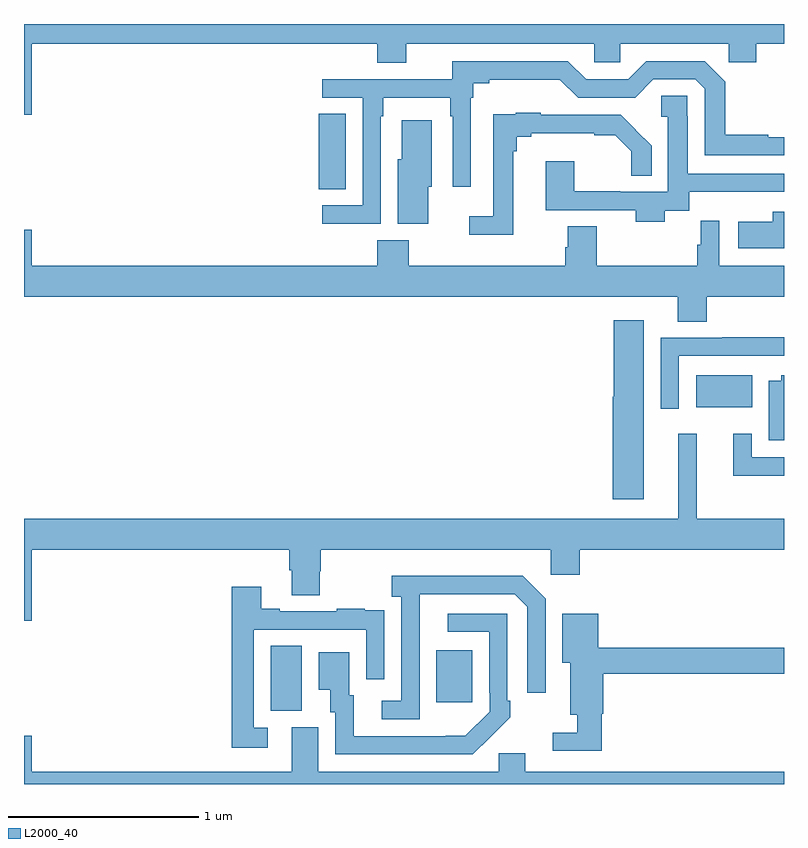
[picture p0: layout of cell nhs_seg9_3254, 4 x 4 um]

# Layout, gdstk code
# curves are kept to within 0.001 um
import gdstk
lib = gdstk.Library(unit=1e-6, precision=1e-09)
def R(c, l, rs):  # rectangles x0, y0, x1, y1
    for r in rs: c.add(gdstk.rectangle(r[:2], r[2:], *l))
def P(c, l, *ps):  # polygons
    for p in ps: c.add(gdstk.Polygon(p, *l))
L2000_40 = (2000, 40)

nhs_seg9_3254 = lib.new_cell('nhs_seg9_3254')
R(nhs_seg9_3254, L2000_40, [(298.298,1216.885,298.462,1217.228), (299.171,1216.929,299.359,1217.203), (300.539,1218.482,300.832,1218.652), (298.55,1219.63,298.693,1220.027)])
P(nhs_seg9_3254, L2000_40, [(297.04,1220.396),(298.859,1220.396),(298.859,1220.297),(299.011,1220.297),(299.011,1220.396),(300,1220.396),(300,1220.298),(300.138,1220.298),(300.138,1220.396),(300.709,1220.396),(300.709,1220.298),(300.855,1220.298),(300.855,1220.396),(301,1220.396),(301,1220.5),(297,1220.5),(297,1220.022),(297.04,1220.022)],
  [(298.878,1220.015),(298.891,1220.015),(298.891,1220.112),(299.244,1220.112),(299.244,1220.015),(299.256,1220.015),(299.256,1219.644),(299.352,1219.644),(299.352,1220.111),(299.365,1220.111),(299.365,1220.188),(299.449,1220.188),(299.449,1220.207),(299.821,1220.207),(299.916,1220.112),(300.216,1220.112),(300.312,1220.208),(300.534,1220.208),(300.582,1220.16),(300.582,1219.809),(301,1219.809),(301,1219.905),(300.917,1219.905),(300.917,1219.918),(300.691,1219.918),(300.691,1220.195),(300.582,1220.304),(300.276,1220.304),(300.18,1220.208),(299.958,1220.208),(299.862,1220.304),(299.254,1220.304),(299.254,1220.208),(298.569,1220.208),(298.569,1220.112),(298.782,1220.112),(298.782,1219.545),(298.569,1219.545),(298.569,1219.449),(298.878,1219.449)],
  [(300.373,1219.517),(300.502,1219.517),(300.502,1219.616),(300.771,1219.616),(300.771,1219.617),(301,1219.617),(301,1219.713),(300.493,1219.713),(300.493,1220.015),(300.492,1220.015),(300.492,1220.123),(300.354,1220.123),(300.354,1220.012),(300.389,1220.012),(300.389,1219.617),(300.137,1219.617),(300.137,1219.619),(299.895,1219.619),(299.895,1219.777),(299.747,1219.777),(299.747,1219.521),(300.221,1219.521),(300.221,1219.46),(300.373,1219.46)],
  [(299.575,1219.829),(299.593,1219.829),(299.593,1219.906),(299.671,1219.906),(299.671,1219.925),(300.002,1219.925),(300.002,1219.914),(300.111,1219.914),(300.195,1219.831),(300.195,1219.702),(300.304,1219.702),(300.304,1219.859),(300.22,1219.942),(300.221,1219.943),(300.142,1220.022),(299.721,1220.022),(299.721,1220.032),(299.589,1220.032),(299.589,1220.024),(299.471,1220.024),(299.471,1219.489),(299.343,1219.489),(299.343,1219.391),(299.575,1219.391)],
  [(299.128,1219.644),(299.146,1219.644),(299.146,1219.993),(298.988,1219.993),(298.988,1219.788),(298.967,1219.788),(298.967,1219.449),(299.128,1219.449)],
  [(301,1219.512),(300.941,1219.512),(300.941,1219.459),(300.759,1219.459),(300.759,1219.319),(301,1219.319)],
  [(300.593,1219.064),(301,1219.064),(301,1219.228),(300.66,1219.228),(300.66,1219.465),(300.563,1219.465),(300.563,1219.338),(300.544,1219.338),(300.544,1219.228),(300.014,1219.228),(300.014,1219.436),(299.861,1219.436),(299.861,1219.326),(299.849,1219.326),(299.849,1219.228),(299.024,1219.228),(299.024,1219.363),(298.859,1219.363),(298.859,1219.228),(297.04,1219.228),(297.04,1219.417),(297,1219.417),(297,1219.064),(300.44,1219.064),(300.44,1218.934),(300.593,1218.934)],
  [(300.262,1218.94),(300.104,1218.94),(300.104,1218.537),(300.098,1218.537),(300.098,1218),(300.262,1218)],
  [(300.447,1218.753),(301,1218.753),(301,1218.851),(300.676,1218.851),(300.676,1218.849),(300.351,1218.849),(300.351,1218.474),(300.447,1218.474)],
  [(301,1218.652),(300.986,1218.652),(300.986,1218.622),(300.92,1218.622),(300.92,1218.308),(301,1218.308)],
  [(297.04,1217.732),(298.397,1217.732),(298.397,1217.626),(298.409,1217.626),(298.409,1217.494),(298.557,1217.494),(298.557,1217.619),(298.562,1217.619),(298.562,1217.732),(299.772,1217.732),(299.772,1217.601),(299.924,1217.601),(299.924,1217.732),(301,1217.732),(301,1217.896),(300.542,1217.896),(300.542,1218.343),(300.443,1218.343),(300.443,1217.896),(297,1217.896),(297,1217.358),(297.04,1217.358)],
  [(301,1218.219),(300.831,1218.219),(300.831,1218.343),(300.734,1218.343),(300.734,1218.123),(301,1218.123)],
  [(299.082,1217.299),(299.083,1217.499),(299.583,1217.499),(299.649,1217.433),(299.649,1216.98),(299.745,1216.98),(299.745,1217.475),(299.624,1217.596),(298.935,1217.596),(298.935,1217.486),(298.986,1217.486),(298.986,1216.938),(298.884,1216.938),(298.884,1216.842),(299.082,1216.842)],
  [(298.282,1216.797),(298.209,1216.797),(298.209,1217.313),(298.8,1217.313),(298.8,1217.052),(298.896,1217.052),(298.896,1217.306),(298.895,1217.306),(298.895,1217.415),(298.793,1217.415),(298.793,1217.422),(298.645,1217.422),(298.645,1217.409),(298.345,1217.409),(298.345,1217.422),(298.249,1217.422),(298.249,1217.539),(298.093,1217.539),(298.093,1216.692),(298.282,1216.692)],
  [(299.453,1216.747),(299.454,1216.746),(299.559,1216.851),(299.559,1216.939),(299.544,1216.939),(299.544,1217.397),(299.229,1217.397),(299.229,1217.301),(299.448,1217.301),(299.448,1216.981),(299.451,1216.981),(299.451,1216.881),(299.323,1216.753),(298.735,1216.752),(298.735,1216.968),(298.711,1216.968),(298.711,1217.194),(298.55,1217.194),(298.55,1216.997),(298.613,1216.997),(298.613,1216.878),(298.638,1216.878),(298.638,1216.656),(299.362,1216.656)],
  [(300.041,1216.869),(300.049,1216.869),(300.049,1217.08),(301,1217.08),(301,1217.216),(300.022,1217.216),(300.022,1217.395),(299.834,1217.395),(299.834,1217.138),(299.876,1217.138),(299.876,1216.865),(299.913,1216.865),(299.913,1216.77),(299.784,1216.77),(299.784,1216.674),(300.041,1216.674)],
  [(301,1216.564),(299.638,1216.564),(299.638,1216.662),(299.499,1216.662),(299.499,1216.564),(298.549,1216.564),(298.549,1216.8),(298.409,1216.8),(298.409,1216.564),(297.04,1216.564),(297.04,1216.753),(297,1216.753),(297,1216.5),(301,1216.5)])

lib.write_gds('nhs_seg9_3254.gds')
